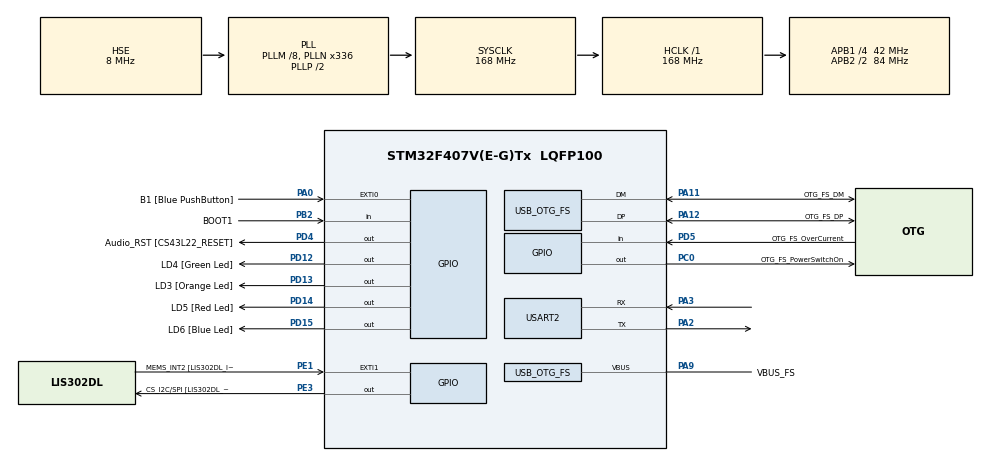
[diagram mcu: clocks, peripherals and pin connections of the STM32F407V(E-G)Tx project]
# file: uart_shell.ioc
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Mcu.Family=STM32F4
Mcu.Name=STM32F407V(E-G)Tx
Mcu.Package=LQFP100
NVIC.OTG_FS_IRQn=true\:0\:0\:false\:false\:true\:true\:true\:true
NVIC.PriorityGroup=NVIC_PRIORITYGROUP_0
NVIC.USART2_IRQn=true\:0\:0\:false\:false\:true\:true\:true\:true
PA0-WKUP.GPIO_Label=B1 [Blue PushButton]
PA0-WKUP.GPIO_ModeDefaultEXTI=GPIO_MODE_EVT_RISING
PA0-WKUP.GPIO_PuPd=GPIO_NOPULL
PA0-WKUP.Signal=GPXTI0
PA10.GPIO_Label=OTG_FS_ID
PA10.GPIO_Mode=GPIO_MODE_AF_PP
PA10.GPIO_PuPd=GPIO_NOPULL
PA10.GPIO_Speed=GPIO_SPEED_FREQ_LOW
PA10.Signal=USB_OTG_FS_ID
PA11.GPIO_Label=OTG_FS_DM
PA11.GPIO_Mode=GPIO_MODE_AF_PP
PA11.GPIO_PuPd=GPIO_NOPULL
PA11.GPIO_Speed=GPIO_SPEED_FREQ_LOW
PA11.Mode=Host_Only
PA11.Signal=USB_OTG_FS_DM
PA12.GPIO_Label=OTG_FS_DP
PA12.GPIO_Mode=GPIO_MODE_AF_PP
PA12.GPIO_PuPd=GPIO_NOPULL
PA12.GPIO_Speed=GPIO_SPEED_FREQ_LOW
PA12.Mode=Host_Only
PA12.Signal=USB_OTG_FS_DP
PA13.GPIO_Label=SWDIO
PA13.Mode=Serial_Wire
PA13.Signal=SYS_JTMS-SWDIO
PA14.GPIO_Label=SWCLK
PA14.Mode=Serial_Wire
PA14.Signal=SYS_JTCK-SWCLK
PA2.Mode=Asynchronous
PA2.Signal=USART2_TX
PA3.Mode=Asynchronous
PA3.Signal=USART2_RX
PA4.GPIO_Label=I2S3_WS [CS43L22_LRCK]
PA4.GPIO_Mode=GPIO_MODE_AF_PP
PA4.GPIO_PuPd=GPIO_NOPULL
PA4.GPIO_Speed=GPIO_SPEED_FREQ_LOW
PA4.Signal=I2S3_WS
PA5.GPIO_Label=SPI1_SCK [LIS302DL_SCL/SPC]
PA5.GPIO_Mode=GPIO_MODE_AF_PP
PA5.GPIO_PuPd=GPIO_NOPULL
PA5.GPIO_Speed=GPIO_SPEED_FREQ_LOW
PA5.Signal=SPI1_SCK
PA6.GPIO_Label=SPI1_MISO [LIS302DL_SDO]
PA6.GPIO_Mode=GPIO_MODE_AF_PP
PA6.GPIO_PuPd=GPIO_NOPULL
PA6.GPIO_Speed=GPIO_SPEED_FREQ_LOW
PA6.Signal=SPI1_MISO
PA7.GPIO_Label=SPI1_MOSI [LIS302DL_SDA/SDI/SDO]
PA7.GPIO_Mode=GPIO_MODE_AF_PP
PA7.GPIO_PuPd=GPIO_NOPULL
PA7.GPIO_Speed=GPIO_SPEED_FREQ_LOW
PA7.Signal=SPI1_MOSI
PA9.GPIO_Label=VBUS_FS
PA9.GPIO_Mode=GPIO_MODE_INPUT
PA9.GPIO_PuPd=GPIO_NOPULL
PA9.Mode=Activate_VBUS
PA9.Signal=USB_OTG_FS_VBUS
PB10.GPIO_Label=CLK_IN [MP45DT02_CLK]
PB10.GPIO_Mode=GPIO_MODE_AF_PP
PB10.GPIO_PuPd=GPIO_NOPULL
PB10.GPIO_Speed=GPIO_SPEED_FREQ_LOW
PB10.Signal=I2S2_CK
PB2.GPIO_Label=BOOT1
PB2.GPIO_Mode=GPIO_MODE_INPUT
PB2.GPIO_PuPd=GPIO_NOPULL
PB2.Signal=GPIO_Input
PB3.GPIO_Label=SWO
PB3.Signal=SYS_JTDO-SWO
PB6.GPIO_Label=Audio_SCL [CS43L22_SCL]
PB6.GPIO_Mode=GPIO_MODE_AF_OD
PB6.GPIO_Pu=GPIO_PULLUP
PB6.GPIO_PuPd=GPIO_NOPULL
PB6.GPIO_Speed=GPIO_SPEED_FREQ_LOW
PB6.Signal=I2C1_SCL
PB9.GPIO_Label=Audio_SDA [CS43L22_SDA]
PB9.GPIO_Mode=GPIO_MODE_AF_OD
PB9.GPIO_Pu=GPIO_PULLUP
PB9.GPIO_PuPd=GPIO_NOPULL
PB9.GPIO_Speed=GPIO_SPEED_FREQ_LOW
PB9.Signal=I2C1_SDA
PC0.GPIO_Label=OTG_FS_PowerSwitchOn
PC0.GPIO_PuPd=GPIO_NOPULL
PC0.GPIO_Speed=GPIO_SPEED_FREQ_LOW
PC0.PinState=GPIO_PIN_SET
PC0.Signal=GPIO_Output
PC10.GPIO_Label=I2S3_SCK [CS43L22_SCLK]
PC10.GPIO_Mode=GPIO_MODE_AF_PP
PC10.GPIO_PuPd=GPIO_NOPULL
PC10.GPIO_Speed=GPIO_SPEED_FREQ_LOW
PC10.Signal=I2S3_CK
PC12.GPIO_Label=I2S3_SD [CS43L22_SDIN]
PC12.GPIO_Mode=GPIO_MODE_AF_PP
PC12.GPIO_PuPd=GPIO_NOPULL
PC12.GPIO_Speed=GPIO_SPEED_FREQ_LOW
PC12.Signal=I2S3_SD
PC14-OSC32_IN.GPIO_Label=PC14-OSC32_IN
PC14-OSC32_IN.Mode=LSE-External-Oscillator
PC14-OSC32_IN.Signal=RCC_OSC32_IN
PC15-OSC32_OUT.GPIO_Label=PC15-OSC32_OUT
PC15-OSC32_OUT.Mode=LSE-External-Oscillator
PC15-OSC32_OUT.Signal=RCC_OSC32_OUT
PC3.GPIO_Label=PDM_OUT [MP45DT02_DOUT]
PC3.GPIO_Mode=GPIO_MODE_AF_PP
PC3.GPIO_PuPd=GPIO_NOPULL
PC3.GPIO_Speed=GPIO_SPEED_FREQ_LOW
PC3.Signal=I2S2_SD
PC7.GPIO_Label=I2S3_MCK [CS43L22_MCLK]
PC7.GPIO_Mode=GPIO_MODE_AF_PP
PC7.GPIO_PuPd=GPIO_NOPULL
PC7.GPIO_Speed=GPIO_SPEED_FREQ_LOW
PC7.Signal=I2S3_MCK
PD12.GPIO_Label=LD4 [Green Led]
PD12.GPIO_PuPd=GPIO_NOPULL
PD12.GPIO_Speed=GPIO_SPEED_FREQ_LOW
PD12.Signal=GPIO_Output
PD13.GPIO_Label=LD3 [Orange Led]
PD13.GPIO_PuPd=GPIO_NOPULL
PD13.GPIO_Speed=GPIO_SPEED_FREQ_LOW
PD13.Signal=GPIO_Output
PD14.GPIO_Label=LD5 [Red Led]
PD14.GPIO_PuPd=GPIO_NOPULL
PD14.GPIO_Speed=GPIO_SPEED_FREQ_LOW
PD14.Signal=GPIO_Output
PD15.GPIO_Label=LD6 [Blue Led]
PD15.GPIO_PuPd=GPIO_NOPULL
PD15.GPIO_Speed=GPIO_SPEED_FREQ_LOW
PD15.Signal=GPIO_Output
PD4.GPIO_Label=Audio_RST [CS43L22_RESET]
PD4.GPIO_PuPd=GPIO_NOPULL
PD4.GPIO_Speed=GPIO_SPEED_FREQ_LOW
PD4.Signal=GPIO_Output
PD5.GPIO_Label=OTG_FS_OverCurrent
PD5.GPIO_Mode=GPIO_MODE_INPUT
PD5.GPIO_PuPd=GPIO_NOPULL
PD5.Signal=GPIO_Input
PE1.GPIO_Label=MEMS_INT2 [LIS302DL_INT2]
PE1.GPIO_ModeDefaultEXTI=GPIO_MODE_EVT_RISING
PE1.GPIO_PuPd=GPIO_NOPULL
PE1.Signal=GPXTI1
PE3.GPIO_Label=CS_I2C/SPI [LIS302DL_CS_I2C/SPI]
PE3.GPIO_PuPd=GPIO_NOPULL
PE3.GPIO_Speed=GPIO_SPEED_FREQ_LOW
PE3.Signal=GPIO_Output
PH0-OSC_IN.GPIO_Label=PH0-OSC_IN
PH0-OSC_IN.Mode=HSE-External-Oscillator
PH0-OSC_IN.Signal=RCC_OSC_IN
PH1-OSC_OUT.GPIO_Label=PH1-OSC_OUT
PH1-OSC_OUT.Mode=HSE-External-Oscillator
PH1-OSC_OUT.Signal=RCC_OSC_OUT
ProjectManager.HeapSize=0x200
ProjectManager.StackSize=0x400
ProjectManager.TargetToolchain=STM32CubeIDE
RCC.48MHZClocksFreq_Value=48000000
RCC.AHBFreq_Value=168000000
RCC.APB1CLKDivider=RCC_HCLK_DIV4
RCC.APB1Freq_Value=42000000
RCC.APB1TimFreq_Value=84000000
RCC.APB2CLKDivider=RCC_HCLK_DIV2
RCC.APB2Freq_Value=84000000
RCC.APB2TimFreq_Value=168000000
RCC.CortexFreq_Value=168000000
RCC.HCLKFreq_Value=168000000
RCC.HSE_VALUE=8000000
RCC.HSI_VALUE=16000000
RCC.PLLM=8
RCC.PLLN=336
RCC.PLLQ=7
RCC.SYSCLKFreq_VALUE=168000000
RCC.SYSCLKSource=RCC_SYSCLKSOURCE_PLLCLK
RCC.VCOOutputFreq_Value=336000000
USART2.VirtualMode=VM_ASYNC
USB_HOST.BSP.number=1
USB_HOST.USBH_HandleTypeDef-CDC_FS=hUsbHostFS
USB_HOST.VirtualModeFS=Cdc
USB_HOST0.BSP.STBoard=false
USB_HOST0.BSP.api=Unknown
USB_HOST0.BSP.instance=PC0
USB_HOST0.BSP.ip=GPIO
USB_HOST0.BSP.mode=Output
USB_HOST0.BSP.name=Drive_VBUS_FS
USB_HOST0.BSP.solution=PC0
USB_OTG_FS.VirtualMode=Host_Only
USB_OTG_FS.phy_itface=HCD_PHY_EMBEDDED
VP_USB_HOST_VS_USB_HOST_CDC_FS.Mode=CDC_FS
board=STM32F407G-DISC1

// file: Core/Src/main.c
/* USER CODE BEGIN Header */
/**
  ******************************************************************************
  * @file           : main.c
  * @brief          : Main program body
  ******************************************************************************
  * @attention
  *
  * Copyright (c) 2024 STMicroelectronics.
  * All rights reserved.
  *
  * This software is licensed under terms that can be found in the LICENSE file
  * in the root directory of this software component.
  * If no LICENSE file comes with this software, it is provided AS-IS.
  *
  ******************************************************************************
  */
/* USER CODE END Header */
#include "main.h"
#include "usb_host.h"

/* USER CODE BEGIN Includes */
#include <string.h>
#include <stdbool.h>
/* USER CODE END Includes */

/* USER CODE BEGIN PM */
bool receptionComplete = false;

/* USER CODE END PM */

UART_HandleTypeDef huart2;

void SystemClock_Config(void);
static void MX_GPIO_Init(void);
static void MX_USART2_UART_Init(void);
void MX_USB_HOST_Process(void);

/* USER CODE BEGIN 0 */
uint8_t received_data[50];
uint8_t data_buffer[2];
/* USER CODE END 0 */

int main(void)
{

  /* MCU Configuration--------------------------------------------------------*/

  /* Reset of all peripherals, Initializes the Flash interface and the Systick. */
  HAL_Init();

  /* Configure the system clock */
  SystemClock_Config();

  /* Initialize all configured peripherals */
  MX_GPIO_Init();
//  MX_USB_HOST_Init();
  MX_USART2_UART_Init();

  /* USER CODE BEGIN 2 */
  display_init_screen();
  display_menu(MAIN_MENU);

//  HAL_UART_Receive_IT(&huart2, received_data, 1);

  /* USER CODE END 2 */

  /* Infinite loop */
  /* USER CODE BEGIN WHILE */
//  char *option = "Yo whats up?";
  while (1)
  {
//	  if(get_options() == '1')
//		  HAL_UART_Transmit(&huart2, (uint8_t *)option, 8, HAL_MAX_DELAY);
    /* USER CODE END WHILE */
	  switch(get_options())
	  {
	  	  case '1':
	  		  post_reply("\n\n\rLED Turned ON\n\rWrite your message and tell us what you want to do\n\r");
	  		  while(1)
	  		  {
	  			  char *recv_data = get_reply();
				  if(!strcmp(recv_data, "turn on green led\r\n"))		//command - turn on green led
					  HAL_GPIO_WritePin(GPIOD, GREEN_LED, PIN_HIGH);
				  else if(!strcmp(recv_data, "turn on orange led\r\n"))
					  HAL_GPIO_WritePin(GPIOD, ORANGE_LED, PIN_HIGH);
				  else if(!strcmp(recv_data, "turn on red led\r\n"))
					  HAL_GPIO_WritePin(GPIOD, RED_LED, PIN_HIGH);
				  else if(!strcmp(recv_data, "turn on blue led\r\n\n"))
				  	  HAL_GPIO_WritePin(GPIOD, BLUE_LED, PIN_HIGH);
				  else if(!strcmp(recv_data, "blink all led\r\n"))
				  {
					  while(receptionComplete == false)
					  {
						  HAL_UART_Receive_IT(&huart2, data_buffer, 50);
						  if(received_data[0] == 's')
						  {
							  HAL_GPIO_WritePin(GPIOD, GREEN_LED, PIN_LOW);
							  HAL_GPIO_WritePin(GPIOD, RED_LED, PIN_LOW);
							  HAL_GPIO_WritePin(GPIOD, BLUE_LED, PIN_LOW);
							  HAL_GPIO_WritePin(GPIOD, ORANGE_LED, PIN_LOW);
							  break;
						  }
						  HAL_GPIO_TogglePin(GPIOD, GREEN_LED);
						  HAL_GPIO_TogglePin(GPIOD, RED_LED);
						  HAL_GPIO_TogglePin(GPIOD, BLUE_LED);
						  HAL_GPIO_TogglePin(GPIOD, ORANGE_LED);
						  HAL_Delay(1000);
					  }
				  }
	  		  }
	  		  display_menu(LED_BLINKING_MENU);
	  		  while(1){
	  			  HAL_GPIO_WritePin(GPIOD, LD4_Pin, PIN_HIGH);
	  		  	  HAL_GPIO_WritePin(GPIOD, LD3_Pin, PIN_HIGH);
	  		  	  HAL_GPIO_WritePin(GPIOD, LD5_Pin, PIN_HIGH);
	  		  	  HAL_GPIO_WritePin(GPIOD, LD6_Pin, PIN_HIGH);
	  		  }
	  		  break;
	  	  case '2':
	  		  HAL_UART_Transmit(&huart2, (uint8_t*)"Option 2", 8, HAL_MAX_DELAY);
	  		  break;
	  	  case '3':
	  		  HAL_UART_Transmit(&huart2, (uint8_t*)"Option 3", 8, HAL_MAX_DELAY);
	  		  break;
	  }

  }
}

void SystemClock_Config(void)
{
  RCC_OscInitTypeDef RCC_OscInitStruct = {0};
  RCC_ClkInitTypeDef RCC_ClkInitStruct = {0};

  /** Configure the main internal regulator output voltage
  */
  __HAL_RCC_PWR_CLK_ENABLE();
  __HAL_PWR_VOLTAGESCALING_CONFIG(PWR_REGULATOR_VOLTAGE_SCALE1);

  /** Initializes the RCC Oscillators according to the specified parameters
  * in the RCC_OscInitTypeDef structure.
  */
  RCC_OscInitStruct.OscillatorType = RCC_OSCILLATORTYPE_HSE;
  RCC_OscInitStruct.HSEState = RCC_HSE_ON;
  RCC_OscInitStruct.PLL.PLLState = RCC_PLL_ON;
  RCC_OscInitStruct.PLL.PLLSource = RCC_PLLSOURCE_HSE;
  RCC_OscInitStruct.PLL.PLLM = 8;
  RCC_OscInitStruct.PLL.PLLN = 336;
  RCC_OscInitStruct.PLL.PLLP = RCC_PLLP_DIV2;
  RCC_OscInitStruct.PLL.PLLQ = 7;
  if (HAL_RCC_OscConfig(&RCC_OscInitStruct) != HAL_OK)
  {
    Error_Handler();
  }

  /** Initializes the CPU, AHB and APB buses clocks
  */
  RCC_ClkInitStruct.ClockType = RCC_CLOCKTYPE_HCLK|RCC_CLOCKTYPE_SYSCLK
                              |RCC_CLOCKTYPE_PCLK1|RCC_CLOCKTYPE_PCLK2;
  RCC_ClkInitStruct.SYSCLKSource = RCC_SYSCLKSOURCE_PLLCLK;
  RCC_ClkInitStruct.AHBCLKDivider = RCC_SYSCLK_DIV1;
  RCC_ClkInitStruct.APB1CLKDivider = RCC_HCLK_DIV4;
  RCC_ClkInitStruct.APB2CLKDivider = RCC_HCLK_DIV2;

  if (HAL_RCC_ClockConfig(&RCC_ClkInitStruct, FLASH_LATENCY_5) != HAL_OK)
  {
    Error_Handler();
  }
}

static void MX_USART2_UART_Init(void)
{

  huart2.Instance = USART2;
  huart2.Init.BaudRate = 115200;
  huart2.Init.WordLength = UART_WORDLENGTH_8B;
  huart2.Init.StopBits = UART_STOPBITS_1;
  huart2.Init.Parity = UART_PARITY_NONE;
  huart2.Init.Mode = UART_MODE_TX_RX;
  huart2.Init.HwFlowCtl = UART_HWCONTROL_NONE;
  huart2.Init.OverSampling = UART_OVERSAMPLING_16;
  if (HAL_UART_Init(&huart2) != HAL_OK)
  {
    Error_Handler();
  }

}

static void MX_GPIO_Init(void)
{
  GPIO_InitTypeDef GPIO_InitStruct = {0};

  /* GPIO Ports Clock Enable */
  __HAL_RCC_GPIOE_CLK_ENABLE();
  __HAL_RCC_GPIOC_CLK_ENABLE();
  __HAL_RCC_GPIOH_CLK_ENABLE();
  __HAL_RCC_GPIOA_CLK_ENABLE();
  __HAL_RCC_GPIOB_CLK_ENABLE();
  __HAL_RCC_GPIOD_CLK_ENABLE();

  /*Configure GPIO pin Output Level */
  HAL_GPIO_WritePin(CS_I2C_SPI_GPIO_Port, CS_I2C_SPI_Pin, GPIO_PIN_RESET);

  /*Configure GPIO pin Output Level */
  HAL_GPIO_WritePin(OTG_FS_PowerSwitchOn_GPIO_Port, OTG_FS_PowerSwitchOn_Pin, GPIO_PIN_SET);

  /*Configure GPIO pin Output Level */
  HAL_GPIO_WritePin(GPIOD, LD4_Pin|LD3_Pin|LD5_Pin|LD6_Pin
                          |Audio_RST_Pin, GPIO_PIN_RESET);

  /*Configure GPIO pin : CS_I2C_SPI_Pin */
  GPIO_InitStruct.Pin = CS_I2C_SPI_Pin;
  GPIO_InitStruct.Mode = GPIO_MODE_OUTPUT_PP;
  GPIO_InitStruct.Pull = GPIO_NOPULL;
  GPIO_InitStruct.Speed = GPIO_SPEED_FREQ_LOW;
  HAL_GPIO_Init(CS_I2C_SPI_GPIO_Port, &GPIO_InitStruct);

  /*Configure GPIO pin : OTG_FS_PowerSwitchOn_Pin */
  GPIO_InitStruct.Pin = OTG_FS_PowerSwitchOn_Pin;
  GPIO_InitStruct.Mode = GPIO_MODE_OUTPUT_PP;
  GPIO_InitStruct.Pull = GPIO_NOPULL;
  GPIO_InitStruct.Speed = GPIO_SPEED_FREQ_LOW;
  HAL_GPIO_Init(OTG_FS_PowerSwitchOn_GPIO_Port, &GPIO_InitStruct);

  /*Configure GPIO pin : PDM_OUT_Pin */
  GPIO_InitStruct.Pin = PDM_OUT_Pin;
  GPIO_InitStruct.Mode = GPIO_MODE_AF_PP;
  GPIO_InitStruct.Pull = GPIO_NOPULL;
  GPIO_InitStruct.Speed = GPIO_SPEED_FREQ_LOW;
  GPIO_InitStruct.Alternate = GPIO_AF5_SPI2;
  HAL_GPIO_Init(PDM_OUT_GPIO_Port, &GPIO_InitStruct);

  /*Configure GPIO pin : B1_Pin */
  GPIO_InitStruct.Pin = B1_Pin;
  GPIO_InitStruct.Mode = GPIO_MODE_EVT_RISING;
  GPIO_InitStruct.Pull = GPIO_NOPULL;
  HAL_GPIO_Init(B1_GPIO_Port, &GPIO_InitStruct);

  /*Configure GPIO pin : I2S3_WS_Pin */
  GPIO_InitStruct.Pin = I2S3_WS_Pin;
  GPIO_InitStruct.Mode = GPIO_MODE_AF_PP;
  GPIO_InitStruct.Pull = GPIO_NOPULL;
  GPIO_InitStruct.Speed = GPIO_SPEED_FREQ_LOW;
  GPIO_InitStruct.Alternate = GPIO_AF6_SPI3;
  HAL_GPIO_Init(I2S3_WS_GPIO_Port, &GPIO_InitStruct);

  /*Configure GPIO pins : SPI1_SCK_Pin SPI1_MISO_Pin SPI1_MOSI_Pin */
  GPIO_InitStruct.Pin = SPI1_SCK_Pin|SPI1_MISO_Pin|SPI1_MOSI_Pin;
  GPIO_InitStruct.Mode = GPIO_MODE_AF_PP;
  GPIO_InitStruct.Pull = GPIO_NOPULL;
  GPIO_InitStruct.Speed = GPIO_SPEED_FREQ_LOW;
  GPIO_InitStruct.Alternate = GPIO_AF5_SPI1;
  HAL_GPIO_Init(GPIOA, &GPIO_InitStruct);

  /*Configure GPIO pin : BOOT1_Pin */
  GPIO_InitStruct.Pin = BOOT1_Pin;
  GPIO_InitStruct.Mode = GPIO_MODE_INPUT;
  GPIO_InitStruct.Pull = GPIO_NOPULL;
  HAL_GPIO_Init(BOOT1_GPIO_Port, &GPIO_InitStruct);

  /*Configure GPIO pin : CLK_IN_Pin */
  GPIO_InitStruct.Pin = CLK_IN_Pin;
  GPIO_InitStruct.Mode = GPIO_MODE_AF_PP;
  GPIO_InitStruct.Pull = GPIO_NOPULL;
  GPIO_InitStruct.Speed = GPIO_SPEED_FREQ_LOW;
  GPIO_InitStruct.Alternate = GPIO_AF5_SPI2;
  HAL_GPIO_Init(CLK_IN_GPIO_Port, &GPIO_InitStruct);

  /*Configure GPIO pins : LD4_Pin LD3_Pin LD5_Pin LD6_Pin
                           Audio_RST_Pin */
  GPIO_InitStruct.Pin = LD4_Pin|LD3_Pin|LD5_Pin|LD6_Pin
                          |Audio_RST_Pin;
  GPIO_InitStruct.Mode = GPIO_MODE_OUTPUT_PP;
  GPIO_InitStruct.Pull = GPIO_NOPULL;
  GPIO_InitStruct.Speed = GPIO_SPEED_FREQ_LOW;
  HAL_GPIO_Init(GPIOD, &GPIO_InitStruct);

  /*Configure GPIO pins : I2S3_MCK_Pin I2S3_SCK_Pin I2S3_SD_Pin */
  GPIO_InitStruct.Pin = I2S3_MCK_Pin|I2S3_SCK_Pin|I2S3_SD_Pin;
  GPIO_InitStruct.Mode = GPIO_MODE_AF_PP;
  GPIO_InitStruct.Pull = GPIO_NOPULL;
  GPIO_InitStruct.Speed = GPIO_SPEED_FREQ_LOW;
  GPIO_InitStruct.Alternate = GPIO_AF6_SPI3;
  HAL_GPIO_Init(GPIOC, &GPIO_InitStruct);

  /*Configure GPIO pin : OTG_FS_OverCurrent_Pin */
  GPIO_InitStruct.Pin = OTG_FS_OverCurrent_Pin;
  GPIO_InitStruct.Mode = GPIO_MODE_INPUT;
  GPIO_InitStruct.Pull = GPIO_NOPULL;
  HAL_GPIO_Init(OTG_FS_OverCurrent_GPIO_Port, &GPIO_InitStruct);

  /*Configure GPIO pins : Audio_SCL_Pin Audio_SDA_Pin */
  GPIO_InitStruct.Pin = Audio_SCL_Pin|Audio_SDA_Pin;
  GPIO_InitStruct.Mode = GPIO_MODE_AF_OD;
  GPIO_InitStruct.Pull = GPIO_PULLUP;
  GPIO_InitStruct.Speed = GPIO_SPEED_FREQ_LOW;
  GPIO_InitStruct.Alternate = GPIO_AF4_I2C1;
  HAL_GPIO_Init(GPIOB, &GPIO_InitStruct);

  /*Configure GPIO pin : MEMS_INT2_Pin */
  GPIO_InitStruct.Pin = MEMS_INT2_Pin;
  GPIO_InitStruct.Mode = GPIO_MODE_EVT_RISING;
  GPIO_InitStruct.Pull = GPIO_NOPULL;
  HAL_GPIO_Init(MEMS_INT2_GPIO_Port, &GPIO_InitStruct);

}

/* USER CODE BEGIN 4 */
void display_menu(uint8_t select_menu)
{
	char *options;
	if(select_menu == MAIN_MENU)
	{
		options = "\r1)\tTurn On Lights\n\r";
	}

	if(HAL_UART_Transmit(&huart2, (uint8_t*)options, strlen(options), HAL_MAX_DELAY)!= HAL_OK)
		  Error_Handler();
}

void display_init_screen()
{
	char *shellStart;
	shellStart = "\rHi,\n"
				"\rWelcome to UART Shell.\n"
				"\rMy name is Mr.Disc and tell me what do you want to do today?\n\r";

	if(HAL_UART_Transmit(&huart2, (uint8_t*)shellStart, strlen(shellStart), HAL_MAX_DELAY)!= HAL_OK)
		  Error_Handler();
}

char get_options()
{
	uint8_t recv_data;
	int i = 0;
	while(1)
	{
		HAL_UART_Receive(&huart2, &recv_data, 1, HAL_MAX_DELAY);
		if(recv_data == '\r')
			break;
		else
			received_data[i] = recv_data;
	}

	return received_data[i];
}

void post_reply(char *message)
{
	if(HAL_UART_Transmit(&huart2, (uint8_t *)message, strlen(message), HAL_MAX_DELAY) != HAL_OK)
		Error_Handler();
}

char *get_reply()
{
	uint8_t recv_data;
	int i = 0;
	while(1)
	{
		HAL_UART_Receive(&huart2, &recv_data, 1, HAL_MAX_DELAY);
		if(recv_data == '\r'){
			received_data[i++] = recv_data;
			break;}
		else
			received_data[i++] = recv_data;
	}
	received_data[i] = '\n';

	if(HAL_UART_Transmit(&huart2, received_data, strlen((char*)received_data), HAL_MAX_DELAY) != HAL_OK)
		Error_Handler();
	return (char*)received_data;
}

void HAL_UART_RxCpltCallback(UART_HandleTypeDef *huart)
{
	received_data[0] = data_buffer[0];
	receptionComplete = true;
	HAL_UART_Transmit(&huart2, received_data, strlen(received_data), HAL_MAX_DELAY);
}

/* USER CODE END 4 */

void Error_Handler(void)
{
  __disable_irq();
  while (1)
  {
  }
}
